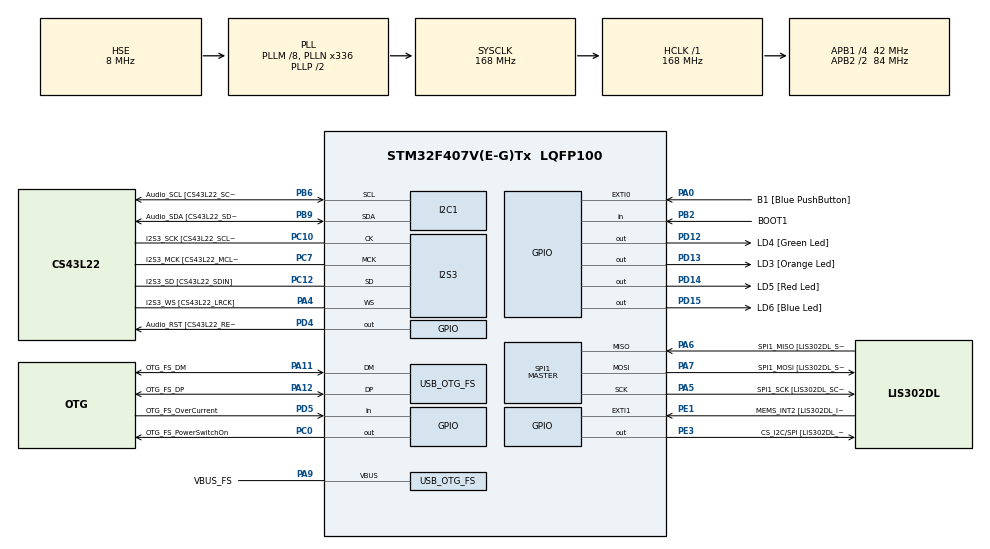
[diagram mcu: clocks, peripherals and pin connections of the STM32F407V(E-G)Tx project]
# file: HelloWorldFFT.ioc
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I2S3.AudioFreq-Half_Duplex_Master=I2S_AUDIOFREQ_96K
I2S3.ErrorAudioFreq=-2.34 %
I2S3.ErrorAudioFreq-Half_Duplex_Master=0.8 %
I2S3.FullDuplexMode=I2S_FULLDUPLEXMODE_DISABLE
I2S3.Instance=SPI$Index
I2S3.RealAudioFreq=93.75 KHz
I2S3.RealAudioFreq-Half_Duplex_Master=96.774 KHz
I2S3.VirtualMode=I2S_MODE_MASTER
Mcu.Family=STM32F4
Mcu.Name=STM32F407V(E-G)Tx
Mcu.Package=LQFP100
NVIC.OTG_FS_IRQn=true\:0\:0\:false\:false\:true\:true\:true\:true
NVIC.PriorityGroup=NVIC_PRIORITYGROUP_0
PA0-WKUP.GPIO_Label=B1 [Blue PushButton]
PA0-WKUP.GPIO_ModeDefaultEXTI=GPIO_MODE_EVT_RISING
PA0-WKUP.GPIO_PuPd=GPIO_NOPULL
PA0-WKUP.Signal=GPXTI0
PA10.GPIO_Label=OTG_FS_ID
PA10.GPIO_Mode=GPIO_MODE_AF_PP
PA10.GPIO_PuPd=GPIO_NOPULL
PA10.GPIO_Speed=GPIO_SPEED_FREQ_LOW
PA10.Signal=USB_OTG_FS_ID
PA11.GPIO_Label=OTG_FS_DM
PA11.GPIO_Mode=GPIO_MODE_AF_PP
PA11.GPIO_PuPd=GPIO_NOPULL
PA11.GPIO_Speed=GPIO_SPEED_FREQ_LOW
PA11.Mode=Host_Only
PA11.Signal=USB_OTG_FS_DM
PA12.GPIO_Label=OTG_FS_DP
PA12.GPIO_Mode=GPIO_MODE_AF_PP
PA12.GPIO_PuPd=GPIO_NOPULL
PA12.GPIO_Speed=GPIO_SPEED_FREQ_LOW
PA12.Mode=Host_Only
PA12.Signal=USB_OTG_FS_DP
PA13.GPIO_Label=SWDIO
PA13.Mode=Serial_Wire
PA13.Signal=SYS_JTMS-SWDIO
PA14.GPIO_Label=SWCLK
PA14.Mode=Serial_Wire
PA14.Signal=SYS_JTCK-SWCLK
PA4.GPIO_Label=I2S3_WS [CS43L22_LRCK]
PA4.GPIO_Mode=GPIO_MODE_AF_PP
PA4.GPIO_PuPd=GPIO_NOPULL
PA4.GPIO_Speed=GPIO_SPEED_FREQ_LOW
PA4.Mode=Half_Duplex_Master
PA4.Signal=I2S3_WS
PA5.GPIO_Label=SPI1_SCK [LIS302DL_SCL/SPC]
PA5.GPIO_Mode=GPIO_MODE_AF_PP
PA5.GPIO_PuPd=GPIO_NOPULL
PA5.GPIO_Speed=GPIO_SPEED_FREQ_LOW
PA5.Mode=Full_Duplex_Master
PA5.Signal=SPI1_SCK
PA6.GPIO_Label=SPI1_MISO [LIS302DL_SDO]
PA6.GPIO_Mode=GPIO_MODE_AF_PP
PA6.GPIO_PuPd=GPIO_NOPULL
PA6.GPIO_Speed=GPIO_SPEED_FREQ_LOW
PA6.Mode=Full_Duplex_Master
PA6.Signal=SPI1_MISO
PA7.GPIO_Label=SPI1_MOSI [LIS302DL_SDA/SDI/SDO]
PA7.GPIO_Mode=GPIO_MODE_AF_PP
PA7.GPIO_PuPd=GPIO_NOPULL
PA7.GPIO_Speed=GPIO_SPEED_FREQ_LOW
PA7.Mode=Full_Duplex_Master
PA7.Signal=SPI1_MOSI
PA9.GPIO_Label=VBUS_FS
PA9.GPIO_Mode=GPIO_MODE_INPUT
PA9.GPIO_PuPd=GPIO_NOPULL
PA9.Mode=Activate_VBUS
PA9.Signal=USB_OTG_FS_VBUS
PB10.GPIO_Label=CLK_IN [MP45DT02_CLK]
PB10.GPIO_Mode=GPIO_MODE_AF_PP
PB10.GPIO_PuPd=GPIO_NOPULL
PB10.GPIO_Speed=GPIO_SPEED_FREQ_LOW
PB10.Signal=I2S2_CK
PB2.GPIO_Label=BOOT1
PB2.GPIO_Mode=GPIO_MODE_INPUT
PB2.GPIO_PuPd=GPIO_NOPULL
PB2.Signal=GPIO_Input
PB3.GPIO_Label=SWO
PB3.Signal=SYS_JTDO-SWO
PB6.GPIO_Label=Audio_SCL [CS43L22_SCL]
PB6.GPIO_Mode=GPIO_MODE_AF_OD
PB6.GPIO_Pu=GPIO_PULLUP
PB6.GPIO_PuPd=GPIO_NOPULL
PB6.GPIO_Speed=GPIO_SPEED_FREQ_LOW
PB6.Mode=I2C
PB6.Signal=I2C1_SCL
PB9.GPIO_Label=Audio_SDA [CS43L22_SDA]
PB9.GPIO_Mode=GPIO_MODE_AF_OD
PB9.GPIO_Pu=GPIO_PULLUP
PB9.GPIO_PuPd=GPIO_NOPULL
PB9.GPIO_Speed=GPIO_SPEED_FREQ_LOW
PB9.Mode=I2C
PB9.Signal=I2C1_SDA
PC0.GPIO_Label=OTG_FS_PowerSwitchOn
PC0.GPIO_PuPd=GPIO_NOPULL
PC0.GPIO_Speed=GPIO_SPEED_FREQ_LOW
PC0.PinState=GPIO_PIN_SET
PC0.Signal=GPIO_Output
PC10.GPIO_Label=I2S3_SCK [CS43L22_SCLK]
PC10.GPIO_Mode=GPIO_MODE_AF_PP
PC10.GPIO_PuPd=GPIO_NOPULL
PC10.GPIO_Speed=GPIO_SPEED_FREQ_LOW
PC10.Mode=Half_Duplex_Master
PC10.Signal=I2S3_CK
PC12.GPIO_Label=I2S3_SD [CS43L22_SDIN]
PC12.GPIO_Mode=GPIO_MODE_AF_PP
PC12.GPIO_PuPd=GPIO_NOPULL
PC12.GPIO_Speed=GPIO_SPEED_FREQ_LOW
PC12.Mode=Half_Duplex_Master
PC12.Signal=I2S3_SD
PC14-OSC32_IN.GPIO_Label=PC14-OSC32_IN
PC14-OSC32_IN.Mode=LSE-External-Oscillator
PC14-OSC32_IN.Signal=RCC_OSC32_IN
PC15-OSC32_OUT.GPIO_Label=PC15-OSC32_OUT
PC15-OSC32_OUT.Mode=LSE-External-Oscillator
PC15-OSC32_OUT.Signal=RCC_OSC32_OUT
PC3.GPIO_Label=PDM_OUT [MP45DT02_DOUT]
PC3.GPIO_Mode=GPIO_MODE_AF_PP
PC3.GPIO_PuPd=GPIO_NOPULL
PC3.GPIO_Speed=GPIO_SPEED_FREQ_LOW
PC3.Signal=I2S2_SD
PC7.GPIO_Label=I2S3_MCK [CS43L22_MCLK]
PC7.GPIO_Mode=GPIO_MODE_AF_PP
PC7.GPIO_PuPd=GPIO_NOPULL
PC7.GPIO_Speed=GPIO_SPEED_FREQ_LOW
PC7.Mode=Master_Clock_Activated
PC7.Signal=I2S3_MCK
PD12.GPIO_Label=LD4 [Green Led]
PD12.GPIO_PuPd=GPIO_NOPULL
PD12.GPIO_Speed=GPIO_SPEED_FREQ_LOW
PD12.Signal=GPIO_Output
PD13.GPIO_Label=LD3 [Orange Led]
PD13.GPIO_PuPd=GPIO_NOPULL
PD13.GPIO_Speed=GPIO_SPEED_FREQ_LOW
PD13.Signal=GPIO_Output
PD14.GPIO_Label=LD5 [Red Led]
PD14.GPIO_PuPd=GPIO_NOPULL
PD14.GPIO_Speed=GPIO_SPEED_FREQ_LOW
PD14.Signal=GPIO_Output
PD15.GPIO_Label=LD6 [Blue Led]
PD15.GPIO_PuPd=GPIO_NOPULL
PD15.GPIO_Speed=GPIO_SPEED_FREQ_LOW
PD15.Signal=GPIO_Output
PD4.GPIO_Label=Audio_RST [CS43L22_RESET]
PD4.GPIO_PuPd=GPIO_NOPULL
PD4.GPIO_Speed=GPIO_SPEED_FREQ_LOW
PD4.Signal=GPIO_Output
PD5.GPIO_Label=OTG_FS_OverCurrent
PD5.GPIO_Mode=GPIO_MODE_INPUT
PD5.GPIO_PuPd=GPIO_NOPULL
PD5.Signal=GPIO_Input
PE1.GPIO_Label=MEMS_INT2 [LIS302DL_INT2]
PE1.GPIO_ModeDefaultEXTI=GPIO_MODE_EVT_RISING
PE1.GPIO_PuPd=GPIO_NOPULL
PE1.Signal=GPXTI1
PE3.GPIO_Label=CS_I2C/SPI [LIS302DL_CS_I2C/SPI]
PE3.GPIO_PuPd=GPIO_NOPULL
PE3.GPIO_Speed=GPIO_SPEED_FREQ_LOW
PE3.Signal=GPIO_Output
PH0-OSC_IN.GPIO_Label=PH0-OSC_IN
PH0-OSC_IN.Mode=HSE-External-Oscillator
PH0-OSC_IN.Signal=RCC_OSC_IN
PH1-OSC_OUT.GPIO_Label=PH1-OSC_OUT
PH1-OSC_OUT.Mode=HSE-External-Oscillator
PH1-OSC_OUT.Signal=RCC_OSC_OUT
ProjectManager.HeapSize=0x200
ProjectManager.StackSize=0x400
ProjectManager.TargetToolchain=STM32CubeIDE
RCC.48MHZClocksFreq_Value=48000000
RCC.AHBFreq_Value=168000000
RCC.APB1CLKDivider=RCC_HCLK_DIV4
RCC.APB1Freq_Value=42000000
RCC.APB1TimFreq_Value=84000000
RCC.APB2CLKDivider=RCC_HCLK_DIV2
RCC.APB2Freq_Value=84000000
RCC.APB2TimFreq_Value=168000000
RCC.CortexFreq_Value=168000000
RCC.HCLKFreq_Value=168000000
RCC.HSE_VALUE=8000000
RCC.HSI_VALUE=16000000
RCC.PLLM=8
RCC.PLLN=336
RCC.PLLQ=7
RCC.SYSCLKFreq_VALUE=168000000
RCC.SYSCLKSource=RCC_SYSCLKSOURCE_PLLCLK
RCC.VCOOutputFreq_Value=336000000
SPI1.BaudRatePrescaler-Full_Duplex_Master=SPI_BAUDRATEPRESCALER_2
SPI1.CalculateBaudRate-Full_Duplex_Master=42.0 MBits/s
SPI1.Direction=SPI_DIRECTION_2LINES
SPI1.Mode=SPI_MODE_MASTER
SPI1.Mode-Full_Duplex_Master=SPI_MODE_MASTER
SPI1.VirtualType=VM_MASTER
USB_HOST.BSP.number=1
USB_HOST.USBH_HandleTypeDef-CDC_FS=hUsbHostFS
USB_HOST.VirtualModeFS=Cdc
USB_HOST0.BSP.STBoard=false
USB_HOST0.BSP.api=Unknown
USB_HOST0.BSP.instance=PC0
USB_HOST0.BSP.ip=GPIO
USB_HOST0.BSP.mode=Output
USB_HOST0.BSP.name=Drive_VBUS_FS
USB_HOST0.BSP.solution=PC0
USB_OTG_FS.VirtualMode=Host_Only
USB_OTG_FS.phy_itface=HCD_PHY_EMBEDDED
VP_USB_HOST_VS_USB_HOST_CDC_FS.Mode=CDC_FS
board=STM32F407G-DISC1

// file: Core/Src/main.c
/* USER CODE BEGIN Header */
/**
  ******************************************************************************
  * @file           : main.c
  * @brief          : Main program body
  ******************************************************************************
  * @attention
  *
  * Copyright (c) 2025 STMicroelectronics.
  * All rights reserved.
  *
  * This software is licensed under terms that can be found in the LICENSE file
  * in the root directory of this software component.
  * If no LICENSE file comes with this software, it is provided AS-IS.
  *
  ******************************************************************************
  */
/* USER CODE END Header */
#include "main.h"
#include "i2c.h"
#include "i2s.h"
#include "spi.h"
#include "usb_host.h"
#include "gpio.h"

/* USER CODE BEGIN Includes */
#include "arm_math.h"
/* USER CODE END Includes */

/* USER CODE BEGIN PM */
#define FFT_Length 32
#define AMPLITUDE       10.0f
#define SIGNAL_FREQ     10.0f
typedef enum SIGNAL{
	ONES,
	DELTA,
	SIN
}SIGNAL;
/* USER CODE END PM */

/* USER CODE BEGIN PV */
arm_rfft_fast_instance_f32 fft_handler;
float32_t fft_input[FFT_Length] = {0};
float32_t fft_keeper[FFT_Length] = {0};
float32_t fft_output[FFT_Length] = {0};
SIGNAL signal = SIN;
float sampling_freq = FFT_Length*SIGNAL_FREQ;
/* USER CODE END PV */

void SystemClock_Config(void);
void MX_USB_HOST_Process(void);

int main(void)
{

  /* MCU Configuration--------------------------------------------------------*/

  /* Reset of all peripherals, Initializes the Flash interface and the Systick. */
  HAL_Init();

  /* Configure the system clock */
  SystemClock_Config();

  /* Initialize all configured peripherals */
  MX_GPIO_Init();
  MX_I2C1_Init();
  MX_I2S3_Init();
  MX_SPI1_Init();
  MX_USB_HOST_Init();
  /* USER CODE BEGIN 2 */
  switch(signal){
  case ONES:
	  for(int i = 0; i < FFT_Length; i++){
  			  fft_input[i] = 1;
  			  fft_keeper[i] = 1;
	  }
	  break;
  case DELTA:
	  for(int i = 0; i < FFT_Length; i++){
	  		  fft_input[i] = 0;
	  		  fft_keeper[i] = 0;
	  	  }
	  	  fft_input[5] = 1;
	  	  fft_keeper[5] = 1;
  case SIN:
	  for (uint32_t n = 0; n < FFT_Length; n++){
	      float32_t angle = 2.0f * PI * SIGNAL_FREQ * ((float32_t)n / sampling_freq);
	      fft_input[n] = AMPLITUDE * arm_sin_f32(angle);
	  }
  }
  arm_rfft_fast_init_f32(&fft_handler,FFT_Length);
  /* USER CODE END 2 */

  /* Infinite loop */
  /* USER CODE BEGIN WHILE */
  while (1)
  {
	  arm_rfft_fast_f32(&fft_handler, (float32_t *)&fft_input, (float32_t *)&fft_output,0);
	  for(int i = 0; i < FFT_Length; i++){
		  fft_input[i] = fft_keeper[i];

	  }
	  HAL_Delay(500);
    /* USER CODE END WHILE */
    MX_USB_HOST_Process();

  }
}

void SystemClock_Config(void)
{
  RCC_OscInitTypeDef RCC_OscInitStruct = {0};
  RCC_ClkInitTypeDef RCC_ClkInitStruct = {0};

  /** Configure the main internal regulator output voltage
  */
  __HAL_RCC_PWR_CLK_ENABLE();
  __HAL_PWR_VOLTAGESCALING_CONFIG(PWR_REGULATOR_VOLTAGE_SCALE1);

  /** Initializes the RCC Oscillators according to the specified parameters
  * in the RCC_OscInitTypeDef structure.
  */
  RCC_OscInitStruct.OscillatorType = RCC_OSCILLATORTYPE_HSE;
  RCC_OscInitStruct.HSEState = RCC_HSE_ON;
  RCC_OscInitStruct.PLL.PLLState = RCC_PLL_ON;
  RCC_OscInitStruct.PLL.PLLSource = RCC_PLLSOURCE_HSE;
  RCC_OscInitStruct.PLL.PLLM = 8;
  RCC_OscInitStruct.PLL.PLLN = 336;
  RCC_OscInitStruct.PLL.PLLP = RCC_PLLP_DIV2;
  RCC_OscInitStruct.PLL.PLLQ = 7;
  if (HAL_RCC_OscConfig(&RCC_OscInitStruct) != HAL_OK)
  {
    Error_Handler();
  }

  /** Initializes the CPU, AHB and APB buses clocks
  */
  RCC_ClkInitStruct.ClockType = RCC_CLOCKTYPE_HCLK|RCC_CLOCKTYPE_SYSCLK
                              |RCC_CLOCKTYPE_PCLK1|RCC_CLOCKTYPE_PCLK2;
  RCC_ClkInitStruct.SYSCLKSource = RCC_SYSCLKSOURCE_PLLCLK;
  RCC_ClkInitStruct.AHBCLKDivider = RCC_SYSCLK_DIV1;
  RCC_ClkInitStruct.APB1CLKDivider = RCC_HCLK_DIV4;
  RCC_ClkInitStruct.APB2CLKDivider = RCC_HCLK_DIV2;

  if (HAL_RCC_ClockConfig(&RCC_ClkInitStruct, FLASH_LATENCY_5) != HAL_OK)
  {
    Error_Handler();
  }
}

void Error_Handler(void)
{
  __disable_irq();
  while (1)
  {
  }
}
